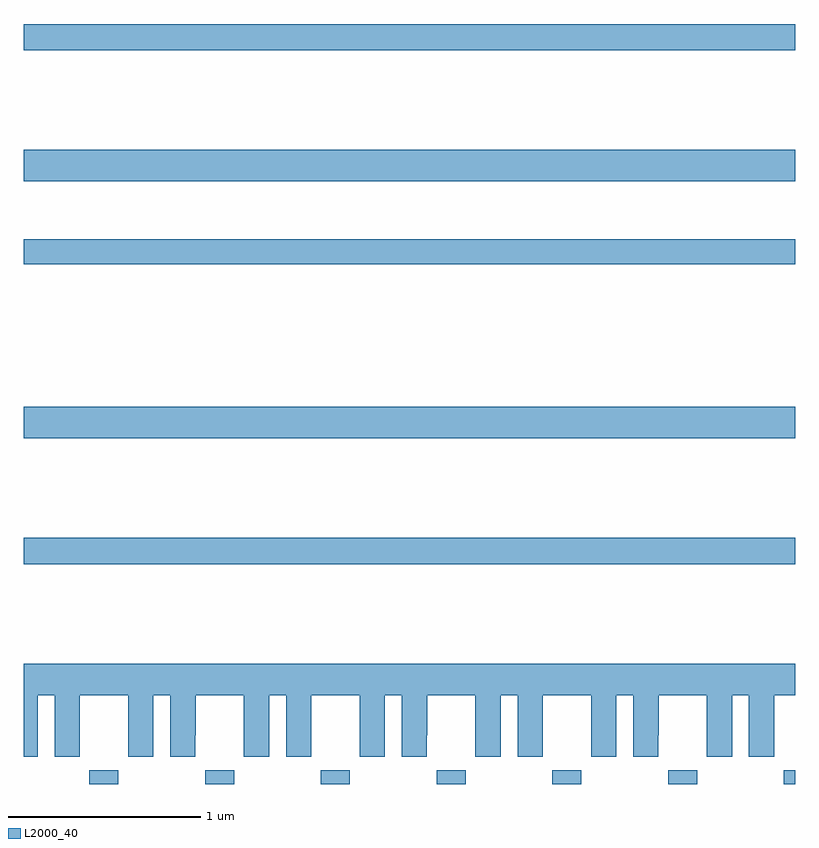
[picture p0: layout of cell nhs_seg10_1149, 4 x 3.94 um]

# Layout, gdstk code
import gdstk
lib = gdstk.Library(unit=1e-6, precision=1e-09)
def R(c, l, rs):  # rectangles x0, y0, x1, y1
    for r in rs: c.add(gdstk.rectangle(r[:2], r[2:], *l))
def A(c, l, x, y, w, h, nx, ny, dx, dy):  # array of equal rectangles
    R(c, l, [(x+i*dx, y+j*dy, x+i*dx+w, y+j*dy+h) for i in range(nx) for j in range(ny)])
def P(c, l, *ps):  # polygons
    for p in ps: c.add(gdstk.Polygon(p, *l))
L2000_40 = (2000, 40)

nhs_seg10_1149 = lib.new_cell('nhs_seg10_1149')
A(nhs_seg10_1149, L2000_40, 169.341, 1322.5, 0.15, 0.072, 6, 1, 0.6, 0)
R(nhs_seg10_1149, L2000_40, [(172.941,1322.5,173,1322.572), (169,1323.64,173,1323.776), (169,1324.292,173,1324.456), (169,1325.194,173,1325.323), (169,1325.624,173,1325.788), (169,1326.304,173,1326.44)])
P(nhs_seg10_1149, L2000_40, [(169,1322.64),(169.072,1322.64),(169.072,1322.96),(169.16,1322.96),(169.16,1322.64),(169.29,1322.64),(169.29,1322.752),(169.291,1322.752),(169.291,1322.96),(169.541,1322.96),(169.541,1322.752),(169.542,1322.752),(169.542,1322.64),(169.672,1322.64),(169.672,1322.96),(169.76,1322.96),(169.76,1322.64),(169.89,1322.64),(169.89,1322.752),(169.891,1322.752),(169.891,1322.96),(170.141,1322.96),(170.141,1322.752),(170.142,1322.752),(170.142,1322.64),(170.272,1322.64),(170.272,1322.96),(170.36,1322.96),(170.36,1322.64),(170.49,1322.64),(170.49,1322.752),(170.491,1322.752),(170.491,1322.96),(170.741,1322.96),(170.741,1322.752),(170.742,1322.752),(170.742,1322.64),(170.872,1322.64),(170.872,1322.96),(170.96,1322.96),(170.96,1322.64),(171.09,1322.64),(171.09,1322.752),(171.091,1322.752),(171.091,1322.96),(171.341,1322.96),(171.341,1322.752),(171.342,1322.752),(171.342,1322.64),(171.472,1322.64),(171.472,1322.96),(171.56,1322.96),(171.56,1322.64),(171.69,1322.64),(171.69,1322.752),(171.691,1322.752),(171.691,1322.96),(171.941,1322.96),(171.941,1322.752),(171.942,1322.752),(171.942,1322.64),(172.072,1322.64),(172.072,1322.96),(172.16,1322.96),(172.16,1322.64),(172.29,1322.64),(172.29,1322.752),(172.291,1322.752),(172.291,1322.96),(172.541,1322.96),(172.541,1322.752),(172.542,1322.752),(172.542,1322.64),(172.672,1322.64),(172.672,1322.96),(172.76,1322.96),(172.76,1322.64),(172.89,1322.64),(172.89,1322.752),(172.891,1322.752),(172.891,1322.96),(173,1322.96),(173,1323.124),(169,1323.124)])

lib.write_gds('nhs_seg10_1149.gds')
